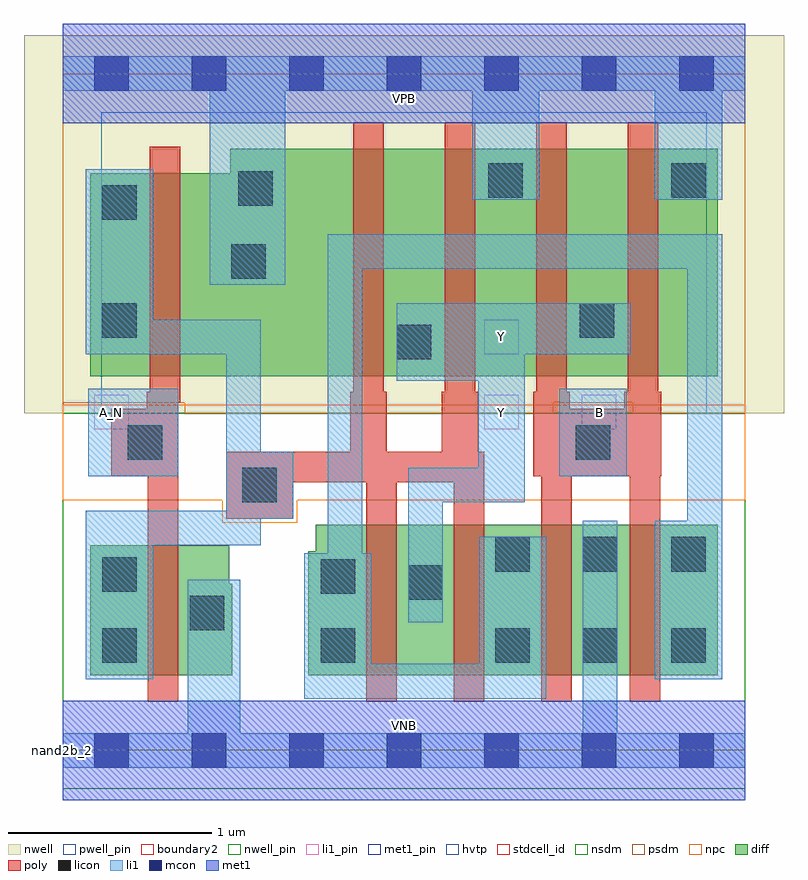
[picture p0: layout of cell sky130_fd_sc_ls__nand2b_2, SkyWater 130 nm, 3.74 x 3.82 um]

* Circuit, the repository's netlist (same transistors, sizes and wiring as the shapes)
* Copyright 2020 The SkyWater PDK Authors
*
* Licensed under the Apache License, Version 2.0 (the "License");
* you may not use this file except in compliance with the License.
* You may obtain a copy of the License at
*
*     https://www.apache.org/licenses/LICENSE-2.0
*
* Unless required by applicable law or agreed to in writing, software
* distributed under the License is distributed on an "AS IS" BASIS,
* WITHOUT WARRANTIES OR CONDITIONS OF ANY KIND, either express or implied.
* See the License for the specific language governing permissions and
* limitations under the License.
*
* SPDX-License-Identifier: Apache-2.0

.SUBCKT sky130_fd_sc_ls__nand2b_2 A_N B VGND VNB VPB VPWR Y
*.PININFO A_N:I B:I VGND:I VNB:I VPB:I VPWR:I Y:O
MMP0 Y A VPWR VPB sky130_fd_pr__pfet_01v8_hvt m=2 w=1.12U l=0.15U mult=1 sa=0.265
+ sb=0.265 sd=0.28 area=0.063 perim=1.14
MMP1 Y B VPWR VPB sky130_fd_pr__pfet_01v8_hvt m=2 w=1.12U l=0.15U mult=1 sa=0.265
+ sb=0.265 sd=0.28 area=0.063 perim=1.14
MMIP0 A A_N VPWR VPB sky130_fd_pr__pfet_01v8_hvt m=1 w=1.0U l=0.15U mult=1 sa=0.265
+ sb=0.265 sd=0.28 area=0.063 perim=1.14
MMN0 Y A sndA VNB sky130_fd_pr__nfet_01v8 m=2 w=0.74U l=0.15U mult=1 sa=0.265 sb=0.265
+ sd=0.28 area=0.063 perim=1.14
MMN1 sndA B VGND VNB sky130_fd_pr__nfet_01v8 m=2 w=0.74U l=0.15U mult=1 sa=0.265
+ sb=0.265 sd=0.28 area=0.063 perim=1.14
MMIN0 A A_N VGND VNB sky130_fd_pr__nfet_01v8 m=1 w=0.64U l=0.15U mult=1 sa=0.265
+ sb=0.265 sd=0.28 area=0.063 perim=1.14
.ENDS sky130_fd_sc_ls__nand2b_2

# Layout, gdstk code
import gdstk
lib = gdstk.Library(unit=1e-6, precision=1e-09)
def R(c, l, rs):  # rectangles x0, y0, x1, y1
    for r in rs: c.add(gdstk.rectangle(r[:2], r[2:], *l))
def A(c, l, x, y, w, h, nx, ny, dx, dy):  # array of equal rectangles
    R(c, l, [(x+i*dx, y+j*dy, x+i*dx+w, y+j*dy+h) for i in range(nx) for j in range(ny)])
def P(c, l, *ps):  # polygons
    for p in ps: c.add(gdstk.Polygon(p, *l))
nwell_pin = (64, 16)
nwell = (64, 20)
diff = (65, 20)
poly = (66, 20)
licon = (66, 44)
li1_pin = (67, 16)
li1 = (67, 20)
mcon = (67, 44)
met1_pin = (68, 16)
met1 = (68, 20)
hvtp = (78, 44)
stdcell_id = (81, 4)
nsdm = (93, 44)
psdm = (94, 20)
npc = (95, 20)
pwell_pin = (122, 16)
boundary2 = (236, 0)

sky130_fd_sc_ls__nand2b_ = lib.new_cell('sky130_fd_sc_ls__nand2b_2')
R(sky130_fd_sc_ls__nand2b_, nwell_pin, [(0,3.085,3.36,3.33)])
R(sky130_fd_sc_ls__nand2b_, nwell, [(-0.19,1.66,3.55,3.52)])
P(sky130_fd_sc_ls__nand2b_, diff, [(0.835,0.82),(0.82,0.82),(0.82,1.01),(0.135,1.01),(0.135,0.37),(0.835,0.37)],
  [(3.225,2.96),(0.825,2.96),(0.825,2.84),(0.135,2.84),(0.135,1.84),(3.225,1.84)],
  [(3.225,1.11),(1.245,1.11),(1.245,0.98),(1.21,0.98),(1.21,0.37),(3.225,0.37)])
P(sky130_fd_sc_ls__nand2b_, poly, [(2.945,1.765),(2.93,1.765),(2.93,3.09),(2.78,3.09),(2.78,1.765),(2.765,1.765),(2.765,1.68),(2.495,1.68),(2.495,1.765),(2.48,1.765),(2.48,3.09),(2.33,3.09),(2.33,1.765),(2.315,1.765),(2.315,1.35),(2.355,1.35),(2.355,0.24),(2.505,0.24),(2.505,1.35),(2.79,1.35),(2.79,0.24),(2.94,0.24),(2.94,1.35),(2.945,1.35)],
  [(2.075,1.47),(2.045,1.47),(2.045,1.765),(2.03,1.765),(2.03,3.09),(1.88,3.09),(1.88,1.765),(1.865,1.765),(1.865,1.47),(1.595,1.47),(1.595,1.765),(1.58,1.765),(1.58,3.09),(1.43,3.09),(1.43,1.765),(1.415,1.765),(1.415,1.47),(0.805,1.47),(0.805,1.14),(1.135,1.14),(1.135,1.32),(1.495,1.32),(1.495,0.24),(1.645,0.24),(1.645,1.32),(1.925,1.32),(1.925,0.24),(2.075,0.24)],
  [(0.58,2.97),(0.43,2.97),(0.43,1.765),(0.415,1.765),(0.415,1.68),(0.24,1.68),(0.24,1.35),(0.42,1.35),(0.42,0.24),(0.57,0.24),(0.57,1.71),(0.58,1.71)])
R(sky130_fd_sc_ls__nand2b_, licon, [(0.195,0.43,0.365,0.6), (1.27,0.43,1.44,0.6), (2.13,0.43,2.3,0.6), (2.56,0.43,2.73,0.6), (2.995,0.43,3.165,0.6), (0.625,0.59,0.795,0.76), (1.7,0.74,1.87,0.91), (1.27,0.77,1.44,0.94), (0.195,0.78,0.365,0.95), (2.13,0.88,2.3,1.05), (2.56,0.88,2.73,1.05), (2.995,0.88,3.165,1.05), (0.885,1.22,1.055,1.39), (0.32,1.43,0.49,1.6), (2.525,1.43,2.695,1.6), (1.645,1.925,1.815,2.095), (0.195,2.03,0.365,2.2), (2.545,2.03,2.715,2.2), (0.83,2.32,1,2.49), (0.195,2.61,0.365,2.78), (0.865,2.68,1.035,2.85), (2.095,2.72,2.265,2.89), (2.995,2.72,3.165,2.89)])
R(sky130_fd_sc_ls__nand2b_, li1_pin, [(0.155,1.58,0.325,1.75), (2.075,1.58,2.245,1.75), (2.555,1.58,2.725,1.75), (2.075,1.95,2.245,2.12)])
R(sky130_fd_sc_ls__nand2b_, li1, [(0.125,1.35,0.57,1.78), (2.445,1.35,2.775,1.78)])
P(sky130_fd_sc_ls__nand2b_, li1, [(0.115,1.95),(0.115,2.86),(0.445,2.86),(0.445,2.12),(0.975,2.12),(0.975,1.47),(1.135,1.47),(1.135,1.14),(0.975,1.14),(0.975,1.01),(0.445,1.01),(0.445,0.35),(0.115,0.35),(0.115,1.18),(0.805,1.18),(0.805,1.95)],
  [(2.915,2.71),(2.915,3.245),(2.345,3.245),(2.345,2.71),(2.015,2.71),(2.015,3.245),(1.095,3.245),(1.095,2.29),(0.725,2.29),(0.725,3.245),(0,3.245),(0,3.415),(3.36,3.415),(3.36,3.245),(3.245,3.245),(3.245,2.71)],
  [(2.56,0.085),(2.56,1.13),(2.73,1.13),(2.73,0.085),(3.36,0.085),(3.36,-0.085),(0,-0.085),(0,0.085),(0.615,0.085),(0.615,0.84),(0.875,0.84),(0.875,0.085)],
  [(2.795,2.2),(2.795,1.95),(2.275,1.95),(2.275,1.22),(1.87,1.22),(1.87,0.63),(1.7,0.63),(1.7,1.39),(2.045,1.39),(2.045,1.82),(1.645,1.82),(1.645,2.2)],
  [(1.19,0.255),(1.19,0.97),(1.305,0.97),(1.305,2.54),(3.245,2.54),(3.245,0.35),(2.915,0.35),(2.915,1.13),(3.075,1.13),(3.075,2.37),(1.475,2.37),(1.475,0.97),(1.52,0.97),(1.52,0.425),(2.05,0.425),(2.05,1.05),(2.38,1.05),(2.38,0.255)])
A(sky130_fd_sc_ls__nand2b_, mcon, 0.155, -0.085, 0.17, 0.17, 7, 2, 0.48, 3.33)
R(sky130_fd_sc_ls__nand2b_, met1_pin, [(0,0,3.36,0.245), (0,3.085,3.36,3.33)])
R(sky130_fd_sc_ls__nand2b_, met1, [(0,-0.245,3.36,0.245), (0,3.085,3.36,3.575)])
R(sky130_fd_sc_ls__nand2b_, hvtp, [(0.19,1.66,3.17,3.14)])
R(sky130_fd_sc_ls__nand2b_, stdcell_id, [(0,0,3.36,3.33)])
R(sky130_fd_sc_ls__nand2b_, nsdm, [(0,-0.19,3.36,1.66)])
P(sky130_fd_sc_ls__nand2b_, psdm, [(3.36,3.52),(0,3.52),(0,1.71),(0.6,1.71),(0.6,1.66),(2.415,1.66),(2.415,1.71),(2.805,1.71),(2.805,1.66),(3.36,1.66)])
P(sky130_fd_sc_ls__nand2b_, npc, [(3.36,1.7),(0,1.7),(0,1.23),(0.785,1.23),(0.785,1.12),(1.155,1.12),(1.155,1.23),(3.36,1.23)])
R(sky130_fd_sc_ls__nand2b_, pwell_pin, [(0,0,3.36,0.245)])
R(sky130_fd_sc_ls__nand2b_, boundary2, [(0,0,3.36,3.33)])
sky130_fd_sc_ls__nand2b_.add(gdstk.Label('nand2b_2', (0,0), layer=83, texttype=44))
sky130_fd_sc_ls__nand2b_.add(gdstk.Label('VNB', (1.68,0.123), layer=64, texttype=59))
sky130_fd_sc_ls__nand2b_.add(gdstk.Label('VPB', (1.68,3.208), layer=64, texttype=5))
sky130_fd_sc_ls__nand2b_.add(gdstk.Label('VPWR', (1.68,3.208), layer=68, texttype=5))
sky130_fd_sc_ls__nand2b_.add(gdstk.Label('VGND', (1.68,0.123), layer=68, texttype=5))
sky130_fd_sc_ls__nand2b_.add(gdstk.Label('B', (2.64,1.665), layer=67, texttype=5))
sky130_fd_sc_ls__nand2b_.add(gdstk.Label('Y', (2.16,1.665), layer=67, texttype=5))
sky130_fd_sc_ls__nand2b_.add(gdstk.Label('Y', (2.16,2.035), layer=67, texttype=5))
sky130_fd_sc_ls__nand2b_.add(gdstk.Label('A_N', (0.24,1.665), layer=67, texttype=5))

lib.write_gds('sky130_fd_sc_ls__nand2b_2.gds')
